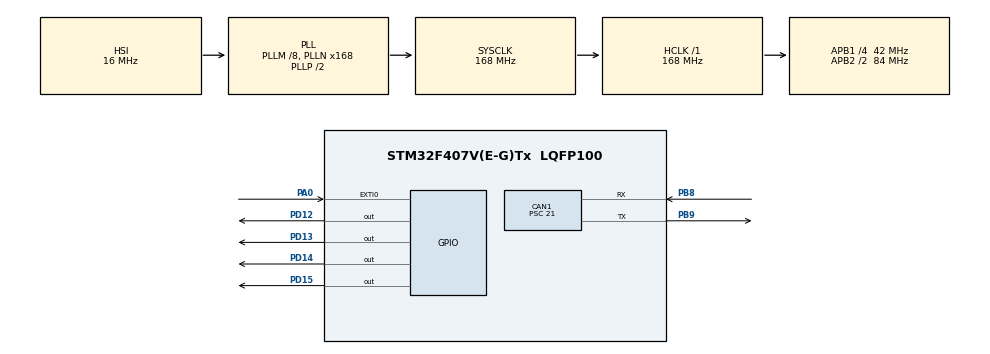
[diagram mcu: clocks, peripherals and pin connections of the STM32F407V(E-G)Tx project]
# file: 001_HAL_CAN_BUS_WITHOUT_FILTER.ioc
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CAN1.BS1=CAN_BS1_10TQ
CAN1.BS2=CAN_BS2_5TQ
CAN1.CalculateTimeQuantum=500.0
CAN1.Prescaler=21
Mcu.Family=STM32F4
Mcu.Name=STM32F407V(E-G)Tx
Mcu.Package=LQFP100
NVIC.CAN1_RX0_IRQn=true\:0\:1\:false\:false\:true\:true\:true
NVIC.EXTI0_IRQn=true\:0\:0\:false\:false\:true\:true\:true
NVIC.PriorityGroup=NVIC_PRIORITYGROUP_0
PA0-WKUP.Signal=GPXTI0
PB8.Mode=Master
PB8.Signal=CAN1_RX
PB9.Mode=Master
PB9.Signal=CAN1_TX
PD12.Signal=GPIO_Output
PD13.Signal=GPIO_Output
PD14.Signal=GPIO_Output
PD15.Signal=GPIO_Output
PH0-OSC_IN.Mode=HSE-External-Oscillator
PH0-OSC_IN.Signal=RCC_OSC_IN
PH1-OSC_OUT.Mode=HSE-External-Oscillator
PH1-OSC_OUT.Signal=RCC_OSC_OUT
ProjectManager.HeapSize=0x200
ProjectManager.StackSize=0x400
ProjectManager.TargetToolchain=STM32CubeIDE
RCC.48MHZClocksFreq_Value=84000000
RCC.AHBFreq_Value=168000000
RCC.APB1CLKDivider=RCC_HCLK_DIV4
RCC.APB1Freq_Value=42000000
RCC.APB1TimFreq_Value=84000000
RCC.APB2CLKDivider=RCC_HCLK_DIV2
RCC.APB2Freq_Value=84000000
RCC.APB2TimFreq_Value=168000000
RCC.CortexFreq_Value=168000000
RCC.HCLKFreq_Value=168000000
RCC.HSE_VALUE=8000000
RCC.HSI_VALUE=16000000
RCC.LSE_VALUE=32768
RCC.PLLM=8
RCC.PLLN=168
RCC.SYSCLKFreq_VALUE=168000000
RCC.SYSCLKSource=RCC_SYSCLKSOURCE_PLLCLK
RCC.VCOOutputFreq_Value=336000000
board=custom

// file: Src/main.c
/* USER CODE BEGIN Header */
/**
  ******************************************************************************
  * @file           : main.c
  * @brief          : Main program body
  ******************************************************************************
  ** This notice applies to any and all portions of this file
  * that are not between comment pairs USER CODE BEGIN and
  * USER CODE END. Other portions of this file, whether
  * inserted by the user or by software development tools
  * are owned by their respective copyright owners.
  *
  * COPYRIGHT(c) 2021 STMicroelectronics
  *
  * Redistribution and use in source and binary forms, with or without modification,
  * are permitted provided that the following conditions are met:
  *   1. Redistributions of source code must retain the above copyright notice,
  *      this list of conditions and the following disclaimer.
  *   2. Redistributions in binary form must reproduce the above copyright notice,
  *      this list of conditions and the following disclaimer in the documentation
  *      and/or other materials provided with the distribution.
  *   3. Neither the name of STMicroelectronics nor the names of its contributors
  *      may be used to endorse or promote products derived from this software
  *      without specific prior written permission.
  *
  * THIS SOFTWARE IS PROVIDED BY THE COPYRIGHT HOLDERS AND CONTRIBUTORS "AS IS"
  * AND ANY EXPRESS OR IMPLIED WARRANTIES, INCLUDING, BUT NOT LIMITED TO, THE
  * IMPLIED WARRANTIES OF MERCHANTABILITY AND FITNESS FOR A PARTICULAR PURPOSE ARE
  * DISCLAIMED. IN NO EVENT SHALL THE COPYRIGHT HOLDER OR CONTRIBUTORS BE LIABLE
  * FOR ANY DIRECT, INDIRECT, INCIDENTAL, SPECIAL, EXEMPLARY, OR CONSEQUENTIAL
  * DAMAGES (INCLUDING, BUT NOT LIMITED TO, PROCUREMENT OF SUBSTITUTE GOODS OR
  * SERVICES; LOSS OF USE, DATA, OR PROFITS; OR BUSINESS INTERRUPTION) HOWEVER
  * CAUSED AND ON ANY THEORY OF LIABILITY, WHETHER IN CONTRACT, STRICT LIABILITY,
  * OR TORT (INCLUDING NEGLIGENCE OR OTHERWISE) ARISING IN ANY WAY OUT OF THE USE
  * OF THIS SOFTWARE, EVEN IF ADVISED OF THE POSSIBILITY OF SUCH DAMAGE.
  *
  ******************************************************************************
  */
/* USER CODE END Header */

#include "main.h"

CAN_HandleTypeDef hcan1;

CAN_TxHeaderTypeDef pTxHeader; // Gönderecegimiz verileri için
CAN_RxHeaderTypeDef pRxHeader; // Alacagımız veriler için
CAN_FilterTypeDef sFilterConfig; // Filtre özellikleri için

uint8_t count=0;
uint8_t rcount=0;
uint32_t pTxMailbox;

void SystemClock_Config(void);
static void MX_GPIO_Init(void);
static void MX_CAN1_Init(void);

int main(void)
{

  /* MCU Configuration--------------------------------------------------------*/

  /* Reset of all peripherals, Initializes the Flash interface and the Systick. */
  HAL_Init();

  /* Configure the system clock */
  SystemClock_Config();

  /* Initialize all configured peripherals */
  MX_GPIO_Init();
  MX_CAN1_Init();
  /* USER CODE BEGIN 2 */

      // Start CAN communication
  HAL_CAN_Start(&hcan1);

      // Enable interrupt
  HAL_CAN_ActivateNotification(&hcan1, CAN_IT_RX_FIFO0_MSG_PENDING); // fifo0'a mesaj gelince aktif olsun interrupt
                                            /* hangi interruptı aktif etmek istiyorsak onun parametresini ekledik
                                             @arg CAN_Interrupts can.h kütüphanesinden parametreleri görebiliriz.  */
               // Butona basılınca can ile mesajı göndericegiz detaylar EXTI0_IRQHandler fonksiyonunda (in stm32f4xx_it.c)

     // Set pHeader Parameters
  pTxHeader.DLC = 1;      // Specifies the length of the frame that will be transmitted. (Biz 1 bytlık veri gönderiyoruz)
  pTxHeader.IDE = CAN_ID_STD;       // Specifies the type of identifier for the message that will be transmitted.
  	  	  	  	  	  	  	  	  // @ref CAN_identifier_type içinde alabilecegi degerler mevcut.
  pTxHeader.RTR = CAN_RTR_DATA;     /*!< Specifies the type of frame for the message that will be transmitted.
                                      This parameter can be a value of @ref CAN_remote_transmission_request */
  pTxHeader.StdId = 0x0155;             /*!< Specifies the standard identifier. This parameter must be a number
   	  	  	  	  	  	  	  	          between Min_Data = 0 and Max_Data = 0x7FF. */

 // Alınan veriyi  CAN1_RX0_IRQHandler(void) ile alıcagız. Ayrıntılar -> stm32f4xx_it.c

  	// Set Filter Parameters
  sFilterConfig.FilterActivation = ENABLE;      // Enable or disable the filter.
  sFilterConfig.FilterBank = 0 ;                // Specifies the filter bank which will be initialized.
  	  	  	  	  	  	  	  	  	  	  	  	// Filtre numarası en düşük olan en yüksek önceliğe sahiptir.
  sFilterConfig.FilterFIFOAssignment = CAN_FILTER_FIFO0;
  sFilterConfig.FilterIdHigh = 0x0000;        // suan bi filtreleme yapmıyoruz.
  sFilterConfig.FilterIdLow = 0x0000;		  // 0000 oldugu için her gelen mesajı alır.
  sFilterConfig.FilterMaskIdHigh = 0x0000;    // maskelemede yapmadık.
  sFilterConfig.FilterMaskIdLow = 0x0000;
  sFilterConfig.FilterMode = CAN_FILTERMODE_IDMASK;
  sFilterConfig.FilterScale = CAN_FILTERSCALE_16BIT;

  HAL_CAN_ConfigFilter(&hcan1, &sFilterConfig);
  /* USER CODE END 2 */

  /* Infinite loop */
  while (1)
  {

  }
}

void SystemClock_Config(void)
{
  RCC_OscInitTypeDef RCC_OscInitStruct = {0};
  RCC_ClkInitTypeDef RCC_ClkInitStruct = {0};

  /**Configure the main internal regulator output voltage
  */
  __HAL_RCC_PWR_CLK_ENABLE();
  __HAL_PWR_VOLTAGESCALING_CONFIG(PWR_REGULATOR_VOLTAGE_SCALE1);
  /**Initializes the CPU, AHB and APB busses clocks
  */
  RCC_OscInitStruct.OscillatorType = RCC_OSCILLATORTYPE_HSI;
  RCC_OscInitStruct.HSIState = RCC_HSI_ON;
  RCC_OscInitStruct.HSICalibrationValue = RCC_HSICALIBRATION_DEFAULT;
  RCC_OscInitStruct.PLL.PLLState = RCC_PLL_ON;
  RCC_OscInitStruct.PLL.PLLSource = RCC_PLLSOURCE_HSI;
  RCC_OscInitStruct.PLL.PLLM = 8;
  RCC_OscInitStruct.PLL.PLLN = 168;
  RCC_OscInitStruct.PLL.PLLP = RCC_PLLP_DIV2;
  RCC_OscInitStruct.PLL.PLLQ = 4;
  if (HAL_RCC_OscConfig(&RCC_OscInitStruct) != HAL_OK)
  {
    Error_Handler();
  }
  /**Initializes the CPU, AHB and APB busses clocks
  */
  RCC_ClkInitStruct.ClockType = RCC_CLOCKTYPE_HCLK|RCC_CLOCKTYPE_SYSCLK
                              |RCC_CLOCKTYPE_PCLK1|RCC_CLOCKTYPE_PCLK2;
  RCC_ClkInitStruct.SYSCLKSource = RCC_SYSCLKSOURCE_PLLCLK;
  RCC_ClkInitStruct.AHBCLKDivider = RCC_SYSCLK_DIV1;
  RCC_ClkInitStruct.APB1CLKDivider = RCC_HCLK_DIV4;
  RCC_ClkInitStruct.APB2CLKDivider = RCC_HCLK_DIV2;

  if (HAL_RCC_ClockConfig(&RCC_ClkInitStruct, FLASH_LATENCY_5) != HAL_OK)
  {
    Error_Handler();
  }
}

static void MX_CAN1_Init(void)
{

  hcan1.Instance = CAN1;
  hcan1.Init.Prescaler = 21;
  hcan1.Init.Mode = CAN_MODE_NORMAL;
  hcan1.Init.SyncJumpWidth = CAN_SJW_1TQ;
  hcan1.Init.TimeSeg1 = CAN_BS1_10TQ;
  hcan1.Init.TimeSeg2 = CAN_BS2_5TQ;
  hcan1.Init.TimeTriggeredMode = DISABLE;
  hcan1.Init.AutoBusOff = DISABLE;
  hcan1.Init.AutoWakeUp = DISABLE;
  hcan1.Init.AutoRetransmission = DISABLE;
  hcan1.Init.ReceiveFifoLocked = DISABLE;
  hcan1.Init.TransmitFifoPriority = DISABLE;
  if (HAL_CAN_Init(&hcan1) != HAL_OK)
  {
    Error_Handler();
  }

}

static void MX_GPIO_Init(void)
{
  GPIO_InitTypeDef GPIO_InitStruct = {0};

  /* GPIO Ports Clock Enable */
  __HAL_RCC_GPIOH_CLK_ENABLE();
  __HAL_RCC_GPIOA_CLK_ENABLE();
  __HAL_RCC_GPIOD_CLK_ENABLE();
  __HAL_RCC_GPIOB_CLK_ENABLE();

  /*Configure GPIO pin Output Level */
  HAL_GPIO_WritePin(GPIOD, GPIO_PIN_12|GPIO_PIN_13|GPIO_PIN_14|GPIO_PIN_15, GPIO_PIN_RESET);

  /*Configure GPIO pin : PA0 */
  GPIO_InitStruct.Pin = GPIO_PIN_0;
  GPIO_InitStruct.Mode = GPIO_MODE_IT_RISING;
  GPIO_InitStruct.Pull = GPIO_NOPULL;
  HAL_GPIO_Init(GPIOA, &GPIO_InitStruct);

  /*Configure GPIO pins : PD12 PD13 PD14 PD15 */
  GPIO_InitStruct.Pin = GPIO_PIN_12|GPIO_PIN_13|GPIO_PIN_14|GPIO_PIN_15;
  GPIO_InitStruct.Mode = GPIO_MODE_OUTPUT_PP;
  GPIO_InitStruct.Pull = GPIO_NOPULL;
  GPIO_InitStruct.Speed = GPIO_SPEED_FREQ_LOW;
  HAL_GPIO_Init(GPIOD, &GPIO_InitStruct);

  /* EXTI interrupt init*/
  HAL_NVIC_SetPriority(EXTI0_IRQn, 0, 0);
  HAL_NVIC_EnableIRQ(EXTI0_IRQn);

}

void Error_Handler(void)
{
}

/************************ (C) COPYRIGHT STMicroelectronics *****END OF FILE****/
